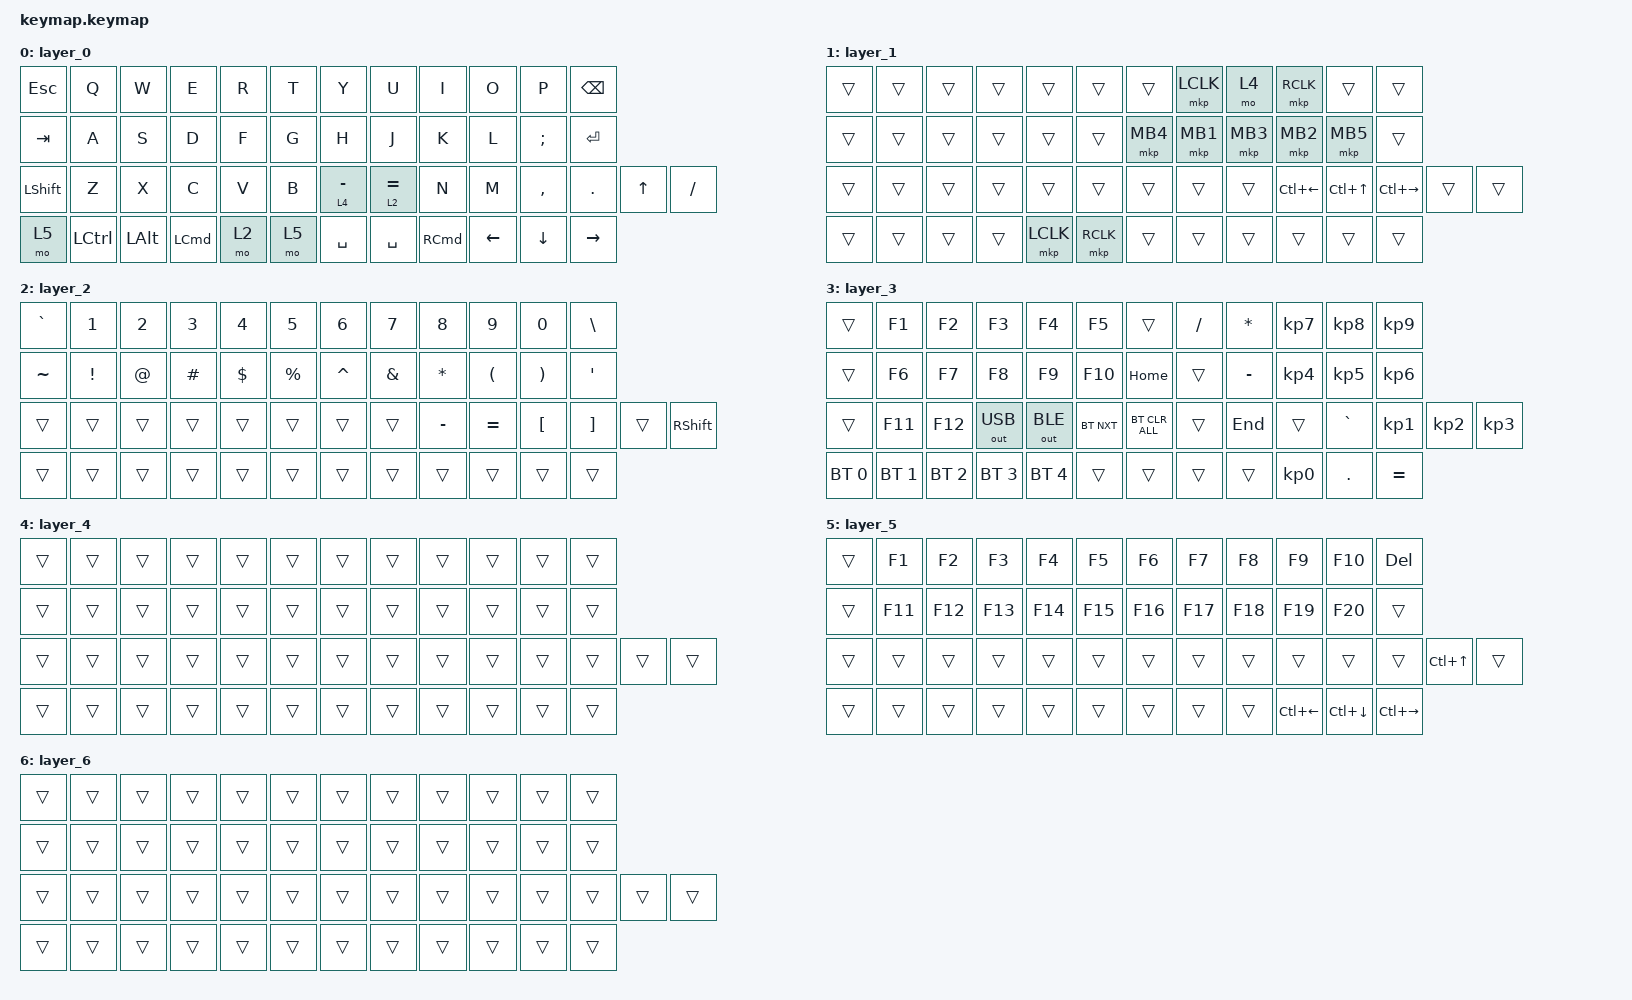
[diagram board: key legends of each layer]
#include <behaviors.dtsi>
#include <dt-bindings/zmk/bt.h>
#include <dt-bindings/zmk/keys.h>
#include <dt-bindings/zmk/outputs.h>
#include <dt-bindings/zmk/pointing.h>

/ {
    combos {
        compatible = "zmk,combos";

        bt_clear {
            bindings = <&bt BT_CLR>;
            key-positions = <0 1 2 3>;
            layers = <2>;
        };

        layer_3 {
            bindings = <&mo 3>;
            key-positions = <9 10 11 8>;
        };
    };

    keymap {
        compatible = "zmk,keymap";

        layer_0 {
            bindings = <
&kp ESC    &kp Q             &kp W         &kp E             &kp R  &kp T  &kp Y        &kp U        &kp I              &kp O           &kp P           &kp BSPC
&kp TAB    &kp A             &kp S         &kp D             &kp F  &kp G  &kp H        &kp J        &kp K              &kp L           &kp SEMICOLON   &kp ENTER
&kp LSHFT  &kp Z             &kp X         &kp C             &kp V  &kp B  &lt 4 MINUS  &lt 2 EQUAL  &kp N              &kp M           &kp COMMA       &kp DOT          &kp UP_ARROW  &kp SLASH
&mo 5      &kp LEFT_CONTROL  &kp LEFT_ALT  &kp LEFT_COMMAND  &mo 2  &mo 5  &kp SPACE    &kp SPACE    &kp RIGHT_COMMAND  &kp LEFT_ARROW  &kp DOWN_ARROW  &kp RIGHT_ARROW
            >;
        };

        layer_1 {
            bindings = <
&trans  &trans  &trans  &trans  &trans     &trans     &trans    &mkp LCLK  &mo 4     &mkp RCLK           &trans            &trans
&trans  &trans  &trans  &trans  &trans     &trans     &mkp MB4  &mkp MB1   &mkp MB3  &mkp MB2            &mkp MB5          &trans
&trans  &trans  &trans  &trans  &trans     &trans     &trans    &trans     &trans    &kp LC(LEFT_ARROW)  &kp LC(UP_ARROW)  &kp LC(RIGHT_ARROW)  &trans  &trans
&trans  &trans  &trans  &trans  &mkp LCLK  &mkp RCLK  &trans    &trans     &trans    &trans              &trans            &trans
            >;
        };

        layer_2 {
            bindings = <
&kp GRAVE  &kp N1    &kp N2  &kp N3    &kp N4      &kp N5     &kp N6     &kp N7         &kp N8     &kp N9                &kp N0                 &kp BACKSLASH
&kp TILDE  &kp EXCL  &kp AT  &kp HASH  &kp DOLLAR  &kp PRCNT  &kp CARET  &kp AMPERSAND  &kp ASTRK  &kp LEFT_PARENTHESIS  &kp RIGHT_PARENTHESIS  &kp SQT
&trans     &trans    &trans  &trans    &trans      &trans     &trans     &trans         &kp MINUS  &kp EQUAL             &kp LEFT_BRACKET       &kp RIGHT_BRACKET  &trans  &kp RIGHT_SHIFT
&trans     &trans    &trans  &trans    &trans      &trans     &trans     &trans         &trans     &trans                &trans                 &trans
            >;
        };

        layer_3 {
            bindings = <
&trans        &kp F1        &kp F2        &kp F3        &kp F4        &kp F5      &trans          &kp FSLH  &kp ASTRK  &kp KP_NUMBER_7  &kp KP_NUMBER_8  &kp KP_NUMBER_9
&trans        &kp F6        &kp F7        &kp F8        &kp F9        &kp F10     &kp HOME        &trans    &kp MINUS  &kp KP_NUMBER_4  &kp KP_NUMBER_5  &kp KP_NUMBER_6
&trans        &kp F11       &kp F12       &out OUT_USB  &out OUT_BLE  &bt BT_NXT  &bt BT_CLR_ALL  &trans    &kp END    &trans           &kp GRAVE        &kp KP_NUMBER_1  &kp KP_NUMBER_2  &kp KP_NUMBER_3
&bt BT_SEL 0  &bt BT_SEL 1  &bt BT_SEL 2  &bt BT_SEL 3  &bt BT_SEL 4  &trans      &trans          &trans    &trans     &kp KP_NUMBER_0  &kp DOT          &kp EQUAL
            >;
        };

        layer_4 {
            bindings = <
&trans  &trans  &trans  &trans  &trans  &trans  &trans  &trans  &trans  &trans  &trans  &trans
&trans  &trans  &trans  &trans  &trans  &trans  &trans  &trans  &trans  &trans  &trans  &trans
&trans  &trans  &trans  &trans  &trans  &trans  &trans  &trans  &trans  &trans  &trans  &trans  &trans  &trans
&trans  &trans  &trans  &trans  &trans  &trans  &trans  &trans  &trans  &trans  &trans  &trans
            >;
        };

        layer_5 {
            bindings = <
&trans  &kp F1   &kp F2   &kp F3   &kp F4   &kp F5   &kp F6   &kp F7   &kp F8   &kp F9              &kp F10             &kp DEL
&trans  &kp F11  &kp F12  &kp F13  &kp F14  &kp F15  &kp F16  &kp F17  &kp F18  &kp F19             &kp F20             &trans
&trans  &trans   &trans   &trans   &trans   &trans   &trans   &trans   &trans   &trans              &trans              &trans               &kp LC(UP_ARROW)  &trans
&trans  &trans   &trans   &trans   &trans   &trans   &trans   &trans   &trans   &kp LC(LEFT_ARROW)  &kp LC(DOWN_ARROW)  &kp LC(RIGHT_ARROW)
            >;
        };

        layer_6 {
            bindings = <
&trans  &trans  &trans  &trans  &trans  &trans  &trans  &trans  &trans  &trans  &trans  &trans
&trans  &trans  &trans  &trans  &trans  &trans  &trans  &trans  &trans  &trans  &trans  &trans
&trans  &trans  &trans  &trans  &trans  &trans  &trans  &trans  &trans  &trans  &trans  &trans  &trans  &trans
&trans  &trans  &trans  &trans  &trans  &trans  &trans  &trans  &trans  &trans  &trans  &trans
            >;
        };
    };
};
